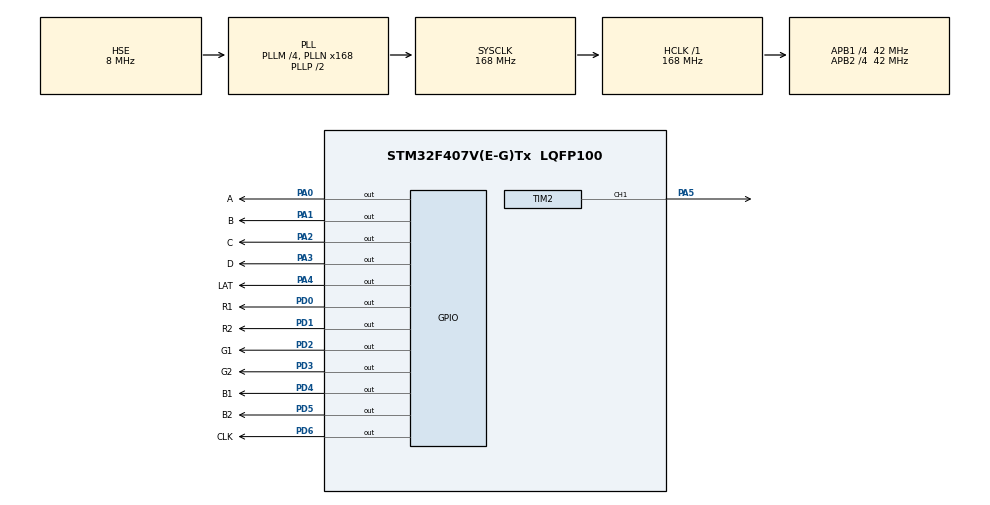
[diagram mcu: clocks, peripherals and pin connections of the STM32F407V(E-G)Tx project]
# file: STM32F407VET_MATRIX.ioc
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Mcu.Family=STM32F4
Mcu.Name=STM32F407V(E-G)Tx
Mcu.Package=LQFP100
NVIC.PriorityGroup=NVIC_PRIORITYGROUP_4
NVIC.TIM1_UP_TIM10_IRQn=true\:0\:0\:false\:false\:true\:true
PA0-WKUP.GPIO_Label=A
PA0-WKUP.GPIO_Speed=GPIO_SPEED_FREQ_VERY_HIGH
PA0-WKUP.PinState=GPIO_PIN_RESET
PA0-WKUP.Signal=GPIO_Output
PA1.GPIO_Label=B
PA1.GPIO_Speed=GPIO_SPEED_FREQ_VERY_HIGH
PA1.PinState=GPIO_PIN_RESET
PA1.Signal=GPIO_Output
PA2.GPIO_Label=C
PA2.GPIO_Speed=GPIO_SPEED_FREQ_VERY_HIGH
PA2.PinState=GPIO_PIN_RESET
PA2.Signal=GPIO_Output
PA3.GPIO_Label=D
PA3.GPIO_Speed=GPIO_SPEED_FREQ_VERY_HIGH
PA3.PinState=GPIO_PIN_RESET
PA3.Signal=GPIO_Output
PA4.GPIO_Label=LAT
PA4.GPIO_Speed=GPIO_SPEED_FREQ_VERY_HIGH
PA4.PinState=GPIO_PIN_RESET
PA4.Signal=GPIO_Output
PA5.GPIO_Speed=GPIO_SPEED_FREQ_VERY_HIGH
PA5.Signal=S_TIM2_CH1_ETR
PC14-OSC32_IN.Mode=LSE-External-Oscillator
PC14-OSC32_IN.Signal=RCC_OSC32_IN
PC15-OSC32_OUT.Mode=LSE-External-Oscillator
PC15-OSC32_OUT.Signal=RCC_OSC32_OUT
PD0.GPIO_Label=R1
PD0.GPIO_Speed=GPIO_SPEED_FREQ_VERY_HIGH
PD0.PinState=GPIO_PIN_RESET
PD0.Signal=GPIO_Output
PD1.GPIO_Label=R2
PD1.GPIO_Speed=GPIO_SPEED_FREQ_VERY_HIGH
PD1.PinState=GPIO_PIN_RESET
PD1.Signal=GPIO_Output
PD2.GPIO_Label=G1
PD2.GPIO_Speed=GPIO_SPEED_FREQ_VERY_HIGH
PD2.PinState=GPIO_PIN_RESET
PD2.Signal=GPIO_Output
PD3.GPIO_Label=G2
PD3.GPIO_Speed=GPIO_SPEED_FREQ_VERY_HIGH
PD3.PinState=GPIO_PIN_RESET
PD3.Signal=GPIO_Output
PD4.GPIO_Label=B1
PD4.GPIO_Speed=GPIO_SPEED_FREQ_VERY_HIGH
PD4.PinState=GPIO_PIN_RESET
PD4.Signal=GPIO_Output
PD5.GPIO_Label=B2
PD5.GPIO_Speed=GPIO_SPEED_FREQ_VERY_HIGH
PD5.PinState=GPIO_PIN_RESET
PD5.Signal=GPIO_Output
PD6.GPIO_Label=CLK
PD6.GPIO_Speed=GPIO_SPEED_FREQ_VERY_HIGH
PD6.PinState=GPIO_PIN_RESET
PD6.Signal=GPIO_Output
PH0-OSC_IN.Mode=HSE-External-Oscillator
PH0-OSC_IN.Signal=RCC_OSC_IN
PH1-OSC_OUT.Mode=HSE-External-Oscillator
PH1-OSC_OUT.Signal=RCC_OSC_OUT
ProjectManager.HeapSize=0x200
ProjectManager.StackSize=0x400
ProjectManager.TargetToolchain=MDK-ARM V5
RCC.48MHZClocksFreq_Value=84000000
RCC.AHBFreq_Value=168000000
RCC.APB1CLKDivider=RCC_HCLK_DIV4
RCC.APB1Freq_Value=42000000
RCC.APB1TimFreq_Value=84000000
RCC.APB2CLKDivider=RCC_HCLK_DIV4
RCC.APB2Freq_Value=42000000
RCC.APB2TimFreq_Value=84000000
RCC.CortexFreq_Value=168000000
RCC.HCLKFreq_Value=168000000
RCC.HSE_VALUE=8000000
RCC.HSI_VALUE=16000000
RCC.PLLM=4
RCC.PLLN=168
RCC.PLLSourceVirtual=RCC_PLLSOURCE_HSE
RCC.SYSCLKFreq_VALUE=168000000
RCC.SYSCLKSource=RCC_SYSCLKSOURCE_PLLCLK
RCC.VCOOutputFreq_Value=336000000
SH.S_TIM2_CH1_ETR.0=TIM2_CH1,PWM Generation1 CH1
TIM1.CounterMode=TIM_COUNTERMODE_DOWN
TIM1.Period=40
TIM2.Channel-PWM\ Generation1\ CH1=TIM_CHANNEL_1
TIM2.Period=100
VP_TIM1_VS_ClockSourceINT.Mode=Internal
VP_TIM2_VS_ClockSourceINT.Mode=Internal
board=custom

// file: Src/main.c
/* USER CODE BEGIN Header */
/**
  ******************************************************************************
  * @file           : main.c
  * @brief          : Main program body
  ******************************************************************************
  ** This notice applies to any and all portions of this file
  * that are not between comment pairs USER CODE BEGIN and
  * USER CODE END. Other portions of this file, whether
  * inserted by the user or by software development tools
  * are owned by their respective copyright owners.
  *
  * COPYRIGHT(c) 2020 STMicroelectronics
  *
  * Redistribution and use in source and binary forms, with or without modification,
  * are permitted provided that the following conditions are met:
  *   1. Redistributions of source code must retain the above copyright notice,
  *      this list of conditions and the following disclaimer.
  *   2. Redistributions in binary form must reproduce the above copyright notice,
  *      this list of conditions and the following disclaimer in the documentation
  *      and/or other materials provided with the distribution.
  *   3. Neither the name of STMicroelectronics nor the names of its contributors
  *      may be used to endorse or promote products derived from this software
  *      without specific prior written permission.
  *
  * THIS SOFTWARE IS PROVIDED BY THE COPYRIGHT HOLDERS AND CONTRIBUTORS "AS IS"
  * AND ANY EXPRESS OR IMPLIED WARRANTIES, INCLUDING, BUT NOT LIMITED TO, THE
  * IMPLIED WARRANTIES OF MERCHANTABILITY AND FITNESS FOR A PARTICULAR PURPOSE ARE
  * DISCLAIMED. IN NO EVENT SHALL THE COPYRIGHT HOLDER OR CONTRIBUTORS BE LIABLE
  * FOR ANY DIRECT, INDIRECT, INCIDENTAL, SPECIAL, EXEMPLARY, OR CONSEQUENTIAL
  * DAMAGES (INCLUDING, BUT NOT LIMITED TO, PROCUREMENT OF SUBSTITUTE GOODS OR
  * SERVICES; LOSS OF USE, DATA, OR PROFITS; OR BUSINESS INTERRUPTION) HOWEVER
  * CAUSED AND ON ANY THEORY OF LIABILITY, WHETHER IN CONTRACT, STRICT LIABILITY,
  * OR TORT (INCLUDING NEGLIGENCE OR OTHERWISE) ARISING IN ANY WAY OUT OF THE USE
  * OF THIS SOFTWARE, EVEN IF ADVISED OF THE POSSIBILITY OF SUCH DAMAGE.
  *
  ******************************************************************************
  */
/* USER CODE END Header */

#include "main.h"

/* USER CODE BEGIN Includes */
#include "tv_ledmatrix.h"
#include "anh0.h"
#include "anh1.h"
#include "anh3.h"
#include "anh4.h"
#include "anh5.h"
#include "anh6.h"

/* USER CODE END Includes */

TIM_HandleTypeDef htim1;
TIM_HandleTypeDef htim2;

void SystemClock_Config(void);
static void MX_GPIO_Init(void);
static void MX_TIM1_Init(void);
static void MX_TIM2_Init(void);

/* USER CODE BEGIN 0 */
unsigned char anhdong=0;
void anhdong1(){
	if (anhdong==0||anhdong==1) giaimaanh1((unsigned char *)anh0 ,128,128,0,-20);
	else if (anhdong==2||anhdong==3) giaimaanh1((unsigned char *)anh1 ,128,128,0,-20);
	else if (anhdong==4||anhdong==5) giaimaanh1((unsigned char *)anh3 ,128,128,0,-20);
	else if (anhdong==6||anhdong==7) giaimaanh1((unsigned char *)anh4 ,128,128,0,-20);
	else if (anhdong==8||anhdong==9) giaimaanh1((unsigned char *)anh5 ,128,128,0,-20);
	else if (anhdong==10||anhdong==11) giaimaanh1((unsigned char *)anh6 ,128,128,0,-20);
	anhdong++;
	if(anhdong>=12) anhdong=0;
}

/* USER CODE END 0 */

int main(void)
{

  /* MCU Configuration--------------------------------------------------------*/

  /* Reset of all peripherals, Initializes the Flash interface and the Systick. */
  HAL_Init();

  /* Configure the system clock */
  SystemClock_Config();

  /* Initialize all configured peripherals */
  MX_GPIO_Init();
  MX_TIM1_Init();
  MX_TIM2_Init();
  /* USER CODE BEGIN 2 */
	HAL_TIM_Base_Start_IT(&htim1);
	HAL_TIM_Base_Start(&htim2);
	HAL_TIM_PWM_Start(&htim2,TIM_CHANNEL_1);
	__HAL_TIM_SET_COMPARE(&htim2,TIM_CHANNEL_1,10);
	unsigned int chay=0;
  /* USER CODE END 2 */

  /* Infinite loop */
  while (1)
  {

    /* USER CODE BEGIN 3 */
		drawImage(chay,16,64,32,(uint16_t *)mario);
		//anhdong1();
		chay++;
		if(chay>128) chay=0;
		giaima();
		MATRIX_clear_display(0,0,128,64);
  }
  /* USER CODE END 3 */
}

void SystemClock_Config(void)
{
  RCC_OscInitTypeDef RCC_OscInitStruct = {0};
  RCC_ClkInitTypeDef RCC_ClkInitStruct = {0};

  /**Configure the main internal regulator output voltage
  */
  __HAL_RCC_PWR_CLK_ENABLE();
  __HAL_PWR_VOLTAGESCALING_CONFIG(PWR_REGULATOR_VOLTAGE_SCALE1);
  /**Initializes the CPU, AHB and APB busses clocks
  */
  RCC_OscInitStruct.OscillatorType = RCC_OSCILLATORTYPE_HSE;
  RCC_OscInitStruct.HSEState = RCC_HSE_ON;
  RCC_OscInitStruct.PLL.PLLState = RCC_PLL_ON;
  RCC_OscInitStruct.PLL.PLLSource = RCC_PLLSOURCE_HSE;
  RCC_OscInitStruct.PLL.PLLM = 4;
  RCC_OscInitStruct.PLL.PLLN = 168;
  RCC_OscInitStruct.PLL.PLLP = RCC_PLLP_DIV2;
  RCC_OscInitStruct.PLL.PLLQ = 4;
  if (HAL_RCC_OscConfig(&RCC_OscInitStruct) != HAL_OK)
  {
    Error_Handler();
  }
  /**Initializes the CPU, AHB and APB busses clocks
  */
  RCC_ClkInitStruct.ClockType = RCC_CLOCKTYPE_HCLK|RCC_CLOCKTYPE_SYSCLK
                              |RCC_CLOCKTYPE_PCLK1|RCC_CLOCKTYPE_PCLK2;
  RCC_ClkInitStruct.SYSCLKSource = RCC_SYSCLKSOURCE_PLLCLK;
  RCC_ClkInitStruct.AHBCLKDivider = RCC_SYSCLK_DIV1;
  RCC_ClkInitStruct.APB1CLKDivider = RCC_HCLK_DIV4;
  RCC_ClkInitStruct.APB2CLKDivider = RCC_HCLK_DIV4;

  if (HAL_RCC_ClockConfig(&RCC_ClkInitStruct, FLASH_LATENCY_5) != HAL_OK)
  {
    Error_Handler();
  }
}

static void MX_TIM1_Init(void)
{

  TIM_ClockConfigTypeDef sClockSourceConfig = {0};
  TIM_MasterConfigTypeDef sMasterConfig = {0};

  htim1.Instance = TIM1;
  htim1.Init.Prescaler = 5;
  htim1.Init.CounterMode = TIM_COUNTERMODE_DOWN;
  htim1.Init.Period = 40;
  htim1.Init.ClockDivision = TIM_CLOCKDIVISION_DIV1;
  htim1.Init.RepetitionCounter = 0;
  if (HAL_TIM_Base_Init(&htim1) != HAL_OK)
  {
    Error_Handler();
  }
  sClockSourceConfig.ClockSource = TIM_CLOCKSOURCE_INTERNAL;
  if (HAL_TIM_ConfigClockSource(&htim1, &sClockSourceConfig) != HAL_OK)
  {
    Error_Handler();
  }
  sMasterConfig.MasterOutputTrigger = TIM_TRGO_RESET;
  sMasterConfig.MasterSlaveMode = TIM_MASTERSLAVEMODE_DISABLE;
  if (HAL_TIMEx_MasterConfigSynchronization(&htim1, &sMasterConfig) != HAL_OK)
  {
    Error_Handler();
  }

}

static void MX_TIM2_Init(void)
{

  TIM_ClockConfigTypeDef sClockSourceConfig = {0};
  TIM_MasterConfigTypeDef sMasterConfig = {0};
  TIM_OC_InitTypeDef sConfigOC = {0};

  htim2.Instance = TIM2;
  htim2.Init.Prescaler = 0;
  htim2.Init.CounterMode = TIM_COUNTERMODE_UP;
  htim2.Init.Period = 100;
  htim2.Init.ClockDivision = TIM_CLOCKDIVISION_DIV1;
  if (HAL_TIM_Base_Init(&htim2) != HAL_OK)
  {
    Error_Handler();
  }
  sClockSourceConfig.ClockSource = TIM_CLOCKSOURCE_INTERNAL;
  if (HAL_TIM_ConfigClockSource(&htim2, &sClockSourceConfig) != HAL_OK)
  {
    Error_Handler();
  }
  if (HAL_TIM_PWM_Init(&htim2) != HAL_OK)
  {
    Error_Handler();
  }
  sMasterConfig.MasterOutputTrigger = TIM_TRGO_RESET;
  sMasterConfig.MasterSlaveMode = TIM_MASTERSLAVEMODE_DISABLE;
  if (HAL_TIMEx_MasterConfigSynchronization(&htim2, &sMasterConfig) != HAL_OK)
  {
    Error_Handler();
  }
  sConfigOC.OCMode = TIM_OCMODE_PWM1;
  sConfigOC.Pulse = 0;
  sConfigOC.OCPolarity = TIM_OCPOLARITY_HIGH;
  sConfigOC.OCFastMode = TIM_OCFAST_DISABLE;
  if (HAL_TIM_PWM_ConfigChannel(&htim2, &sConfigOC, TIM_CHANNEL_1) != HAL_OK)
  {
    Error_Handler();
  }
  HAL_TIM_MspPostInit(&htim2);

}

static void MX_GPIO_Init(void)
{
  GPIO_InitTypeDef GPIO_InitStruct = {0};

  /* GPIO Ports Clock Enable */
  __HAL_RCC_GPIOC_CLK_ENABLE();
  __HAL_RCC_GPIOH_CLK_ENABLE();
  __HAL_RCC_GPIOA_CLK_ENABLE();
  __HAL_RCC_GPIOD_CLK_ENABLE();

  /*Configure GPIO pin Output Level */
  HAL_GPIO_WritePin(GPIOA, A_Pin|B_Pin|C_Pin|D_Pin
                          |LAT_Pin, GPIO_PIN_RESET);

  /*Configure GPIO pin Output Level */
  HAL_GPIO_WritePin(GPIOD, R1_Pin|R2_Pin|G1_Pin|G2_Pin
                          |B1_Pin|B2_Pin|CLK_Pin, GPIO_PIN_RESET);

  /*Configure GPIO pins : A_Pin B_Pin C_Pin D_Pin
                           LAT_Pin */
  GPIO_InitStruct.Pin = A_Pin|B_Pin|C_Pin|D_Pin
                          |LAT_Pin;
  GPIO_InitStruct.Mode = GPIO_MODE_OUTPUT_PP;
  GPIO_InitStruct.Pull = GPIO_NOPULL;
  GPIO_InitStruct.Speed = GPIO_SPEED_FREQ_VERY_HIGH;
  HAL_GPIO_Init(GPIOA, &GPIO_InitStruct);

  /*Configure GPIO pins : R1_Pin R2_Pin G1_Pin G2_Pin
                           B1_Pin B2_Pin CLK_Pin */
  GPIO_InitStruct.Pin = R1_Pin|R2_Pin|G1_Pin|G2_Pin
                          |B1_Pin|B2_Pin|CLK_Pin;
  GPIO_InitStruct.Mode = GPIO_MODE_OUTPUT_PP;
  GPIO_InitStruct.Pull = GPIO_NOPULL;
  GPIO_InitStruct.Speed = GPIO_SPEED_FREQ_VERY_HIGH;
  HAL_GPIO_Init(GPIOD, &GPIO_InitStruct);

}

void Error_Handler(void)
{
}

/************************ (C) COPYRIGHT STMicroelectronics *****END OF FILE****/
